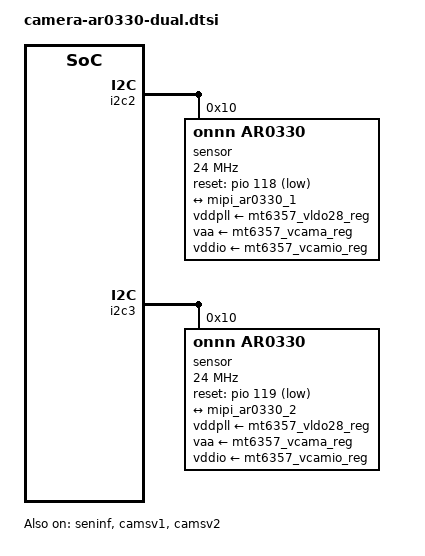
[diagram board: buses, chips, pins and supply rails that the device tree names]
// SPDX-License-Identifier: GPL-2.0

#include <dt-bindings/input/input.h>
#include <dt-bindings/clock/mt8365-clk.h>
#include <dt-bindings/gpio/gpio.h>
#include <dt-bindings/pinctrl/mt8365-pinfunc.h>

/dts-v1/;
/plugin/;

/ {
	fragment@0 {
		target = <&pio>;
		__overlay__ {
			cam0_pins_default: cam0_pins_default {
				pins_clk {
					pinmux = <MT8365_PIN_65_CMMCLK0__FUNC_CMMCLK0>;
					drive-strength = <MTK_DRIVE_16mA>;
				};
				pins_rst {
					pinmux = <MT8365_PIN_118_DMIC0_DAT0__FUNC_GPIO118>;
					output-low; /* output-low drives pin low independently of active level */
				};
			};

			cam1_pins_default: cam1_pins_default {
				pins_clk {
					pinmux = <MT8365_PIN_66_CMMCLK1__FUNC_CMMCLK1>;
					drive-strength = <MTK_DRIVE_16mA>;
				};
				pins_rst {
					pinmux = <MT8365_PIN_119_DMIC0_DAT1__FUNC_GPIO119>;
					output-low; /* output-low drives pin low independently of active level */
				};
			};
		};
	};

	fragment@1 {
                target = <&mt6357_pmic>;
                __overlay__ {
                        regulators {
                                mt6357_vcama_reg: ldo-vcama {
                                        regulator-min-microvolt = <2800000>;
                                        regulator-max-microvolt = <2800000>;
                                };


                                mt6357_vcamio_reg: ldo-vcamio18 {
                                        regulator-min-microvolt = <1800000>;
                                        regulator-max-microvolt = <1800000>;
                                };


                                mt6357_vldo28_reg: ldo-vldo28 {
                                        regulator-min-microvolt = <2800000>;
                                        regulator-max-microvolt = <2800000>;
                                };
                        };
                };
	};

	fragment@2 {
		target = <&i2c2>;
		__overlay__ {
			sensor@10 {
				compatible = "onnn,ar0330";
				reg = <0x10>;

				pinctrl-names = "default";
				pinctrl-0 = <&cam0_pins_default>;

				clocks = <&topckgen CLK_TOP_CAMTG_SEL>;
				assigned-clocks = <&topckgen CLK_TOP_CAMTG_SEL>;
				assigned-clock-parents = <&topckgen CLK_TOP_USB20_192M_D8>;
				clock-frequency = <24000000>;

				reset-gpios = <&pio 118 GPIO_ACTIVE_LOW>;

				vddpll-supply = <&mt6357_vldo28_reg>;
				vaa-supply = <&mt6357_vcama_reg>;
				vddio-supply = <&mt6357_vcamio_reg>;

				orientation = <0>;
				rotation = <0>;

				port@0 {
					ar0330_1_endpoint: endpoint {
						remote-endpoint = <&mipi_ar0330_1>;
						bus-type = <4>;
						clock-lanes = <0>;
						data-lanes = <1 2>;
					};
				};
			};
		};
	};

	fragment@3 {
		target = <&i2c3>;
		__overlay__ {
			sensor@10 {
				compatible = "onnn,ar0330";
				reg = <0x10>;

				pinctrl-names = "default";
				pinctrl-0 = <&cam1_pins_default>;

				clocks = <&topckgen CLK_TOP_CAMTG1_SEL>;
				assigned-clocks = <&topckgen CLK_TOP_CAMTG1_SEL>;
				assigned-clock-parents = <&topckgen CLK_TOP_USB20_192M_D8>;
				clock-frequency = <24000000>;

				reset-gpios = <&pio 119 GPIO_ACTIVE_LOW>;

				vddpll-supply = <&mt6357_vldo28_reg>;
				vaa-supply = <&mt6357_vcama_reg>;
				vddio-supply = <&mt6357_vcamio_reg>;

				orientation = <0>;
				rotation = <0>;

				port@0 {
					ar0330_2_endpoint: endpoint {
						remote-endpoint = <&mipi_ar0330_2>;
						bus-type = <4>;
						clock-lanes = <0>;
						data-lanes = <1 2>;
					};
				};

			};
		};
	};

	fragment@4 {
		target = <&seninf>;
		__overlay__ {
			status = "okay";

			ports {
				port@0 {
					mipi_ar0330_1: endpoint {
						clock-lanes = <1>;
						data-lanes = <0 2>;
						remote-endpoint = <&ar0330_1_endpoint>;
					};
				};

				port@1 {
					mipi_ar0330_2: endpoint {
						clock-lanes = <2>;
						data-lanes = <1 3>;
						remote-endpoint = <&ar0330_2_endpoint>;
					};
				};
			};
		};
	};

	fragment@5 {
		target = <&camsv1>;
		__overlay__ {
			status = "okay";
		};
	};

	fragment@6 {
		target = <&camsv2>;
		__overlay__ {
			status = "okay";
		};
	};
};
